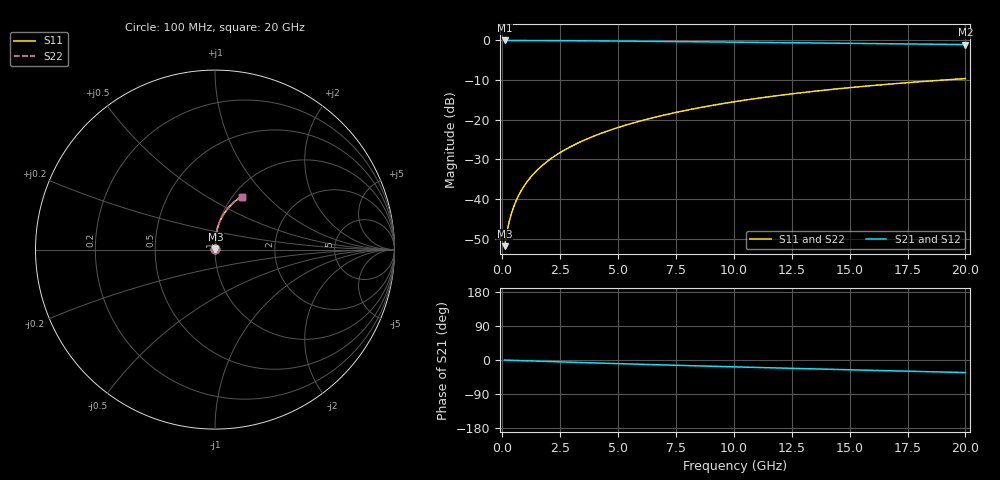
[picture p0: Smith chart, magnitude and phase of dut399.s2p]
! Touchstone file exported from HFSS 2024.1.0
!  File:  C:/UserFiles/LocalFiles/RDL_TSV_Batchsim/temp_RDL_bottom_399_1779614725.aedt
!  Generated:  05:28:03 PM May 24, 2026
!  Design:  RDL_bottom
!  Project:  temp_RDL_bottom_399_1779614725
!  Setup:  Setup1
!  Solution:  Sweep
! Variables:
!  dtsv = 10.80580581um
!  hbump = 3um
!  htsv = 52.04um
!  ldown = 451.15um
!  lrdl = 100um
!  p = 40
!  p1 = 53.47um
!  rhole = 1um
!  t = 450um
!  tdown = 4.09um
!  trdl = 3.915915916um
!  wdown = 22.33um
!  wrdl = 20um
# GHz S MA R 50.000000
! Terminal data exported
! Port[1] = RDL1_T1
! Port[2] = RDL1_T2
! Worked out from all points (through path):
!   200 points, 100 MHz to 20 GHz, reference 50 ohm
!   highest |S21| = -0.02 dB at 100 MHz (marker M1); lowest = -1.1 dB at 20 GHz (marker M2)
!   group delay of S21, straight-line fit = 4.56 ps
!   lowest |S11| = -51.9 dB at 100 MHz (marker M3), VSWR 1.01, Z = 50.2 + j0.166 ohm
!   |S11| at or under -10 dB: start of sweep to 19.03 GHz
!   |S22| runs from -51.9 to -9.6 dB; largest |S21 - S12| = 3.5e-15
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0.1  0.002546 40.6  0.9981 -0.2  0.9981 -0.2  0.002546 40.6
! Gamma 0 0 0 0
! Port Impedance 50 0 50 0
0.2  0.003836 58.0  0.9979 -0.4  0.9979 -0.4  0.003836 58.0
0.3  0.005239 66.0  0.9978 -0.6  0.9978 -0.6  0.005239 66.0
0.4  0.006666 70.7  0.9977 -0.8  0.9977 -0.8  0.006666 70.7
0.5  0.008107 73.9  0.9975 -1.0  0.9975 -1.0  0.008107 73.8
0.6  0.00956 76.1  0.9974 -1.2  0.9974 -1.2  0.009561 76.1
0.8  0.0125 79.2  0.9971 -1.6  0.9971 -1.6  0.0125 79.2
1.1  0.01698 81.9  0.9966 -2.2  0.9966 -2.2  0.01698 81.9
1.5  0.02304 83.9  0.9958 -3.0  0.9958 -3.0  0.02304 83.9
1.8  0.02764 84.8  0.995 -3.6  0.995 -3.6  0.02764 84.8
2.1  0.03229 85.4  0.9941 -4.2  0.9941 -4.2  0.03229 85.4
2.7  0.04174 86.1  0.992 -5.3  0.992 -5.3  0.04174 86.1
3.5  0.05465 86.4  0.9886 -6.9  0.9886 -6.9  0.05465 86.4
4.2  0.06624 86.3  0.9852 -8.2  0.9852 -8.2  0.06624 86.3
5  0.07979 85.9  0.9809 -9.6  0.9809 -9.6  0.07979 85.9
5.9  0.09536 85.1  0.9757 -11.2  0.9757 -11.2  0.09536 85.1
6.8  0.1112 84.1  0.9703 -12.8  0.9703 -12.8  0.1112 84.1
8.4  0.1397 82.0  0.9605 -15.5  0.9605 -15.5  0.1397 82.0
10.1  0.17 79.4  0.9499 -18.2  0.9499 -18.2  0.1699 79.3
13.4  0.2272 74.0  0.9289 -23.4  0.9289 -23.4  0.2272 74.0
16.7  0.2809 68.6  0.9075 -28.4  0.9075 -28.4  0.2809 68.6
20  0.3302 63.4  0.8855 -33.2  0.8855 -33.2  0.3302 63.4
